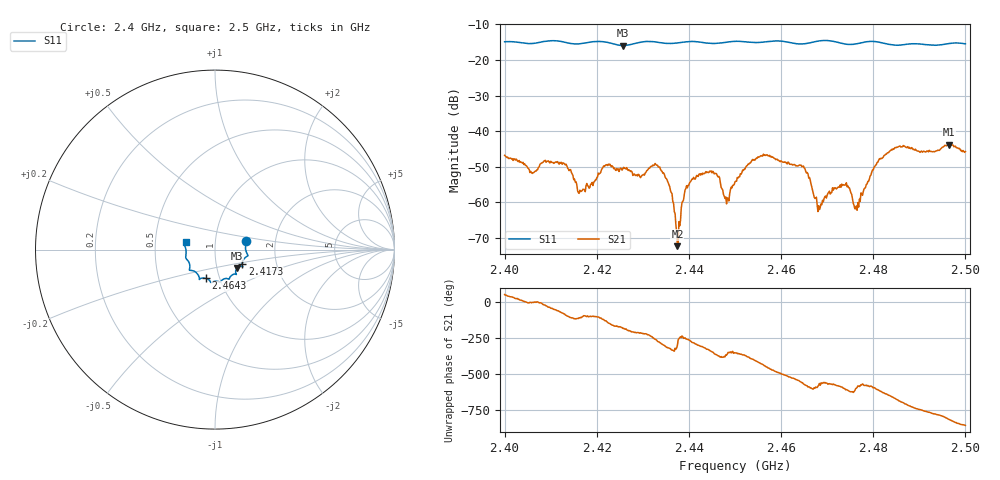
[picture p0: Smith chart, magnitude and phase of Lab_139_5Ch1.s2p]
# Hz S RI R 50
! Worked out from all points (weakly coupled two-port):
!   601 points, 2.4 GHz to 2.5 GHz, reference 50 ohm
!   highest |S21| = -43.84 dB at 2.4965 GHz (marker M1); lowest = -72.4 dB at 2.4375 GHz (marker M2)
!   lowest |S11| = -15.9 dB at 2.4257 GHz (marker M3), VSWR 1.38, Z = 62.4 - j13.2 ohm
!   |S11| at or under -10 dB: start of sweep to end of sweep
!   S12 and S22 are empty: the file has one direction only
!   S11 on the Smith chart (normalised r, x): 2.4 GHz: 1.41, +0.14; 2.4173 GHz: 1.34, -0.23; 2.4643 GHz: 0.86, -0.28; 2.5 GHz: 0.72, +0.06
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2.4e9  0.1736 0.0493  0.00264 0.00371  0 0  0 0
2.406e9  0.1705 0.000991  0.00254 2.49e-05  0 0  0 0
2.412833e9  0.1748 -0.0397  0.000643 -0.00348  0 0  0 0
2.416667e9  0.1525 -0.0751  -0.000386 -0.00137  0 0  0 0
2.417333e9  0.1518 -0.0824  -7.91e-05 -0.0015  0 0  0 0
2.425667e9  0.1225 -0.1027  -0.00295 5.08e-05  0 0  0 0
2.433333e9  0.1124 -0.1365  0.000201 0.00313  0 0  0 0
2.435833e9  0.0952 -0.1418  0.00127 0.00105  0 0  0 0
2.4375e9  0.0847 -0.1516  0.000115 0.000211  0 0  0 0
2.440667e9  0.0787 -0.1645  0.0003 0.00209  0 0  0 0
2.445667e9  0.0499 -0.1635  0.00254 3.2e-05  0 0  0 0
2.448167e9  0.0344 -0.1747  0.00094 -0.000105  0 0  0 0
2.45e9  0.0293 -0.1809  0.00191 0.000305  0 0  0 0
2.456e9  -0.00696 -0.1779  0.00146 -0.00422  0 0  0 0
2.464333e9  -0.0502 -0.1603  -0.00323 0.000787  0 0  0 0
2.466667e9  -0.0763 -0.1595  -0.000851 0.00139  0 0  0 0
2.468333e9  -0.086 -0.1649  -0.000723 0.00031  0 0  0 0
2.474e9  -0.0976 -0.136  -0.000686 0.00161  0 0  0 0
2.476333e9  -0.1202 -0.1182  -0.000498 0.000729  0 0  0 0
2.483333e9  -0.1402 -0.0894  0.00135 0.00479  0 0  0 0
2.4965e9  -0.1689 0.0236  -0.000486 -0.00641  0 0  0 0
2.5e9  -0.1634 0.0418  -0.00366 -0.00362  0 0  0 0
